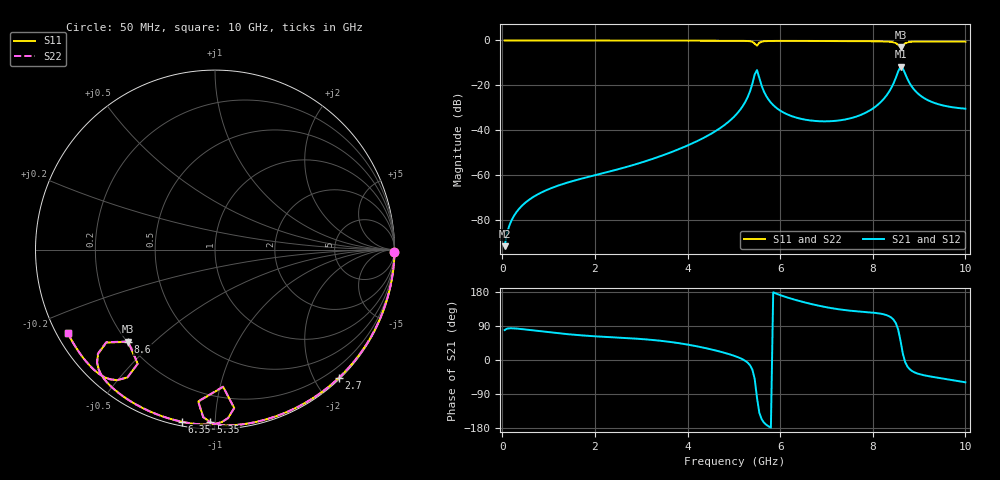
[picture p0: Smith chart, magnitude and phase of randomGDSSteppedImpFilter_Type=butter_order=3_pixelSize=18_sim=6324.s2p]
! freq	dB(S11)	phase(S11)	dB(S12)	phase(S12)
!  dB(S21)	phase(S21)	dB(S22)	phase(S22)
!S-par simulation data
#  GHz  S  DB  R 50
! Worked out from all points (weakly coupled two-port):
!   200 points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, 50 MHz to 10 GHz, reference 50 ohm
!   highest |S21| = -11.71 dB at 8.6 GHz (marker M1); lowest = -91.6 dB at 50 MHz (marker M2)
!   lowest |S11| = -3.0 dB at 8.6 GHz (marker M3), VSWR 5.80, Z = 10.2 - j20.8 ohm
!   |S11| at or under -10 dB: nowhere
!   |S22| runs from -3.0 to 0.0 dB; largest |S21 - S12| = 0
!   S11 on the Smith chart (normalised r, x): 50 MHz: open; 2.7 GHz: 0.02, -2.35; 5.35 GHz: 0.04, -0.97; 6.35 GHz: 0.02, -0.83; 8.6 GHz: 0.20, -0.42; 10 GHz: 0.03, -0.26
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0.05  -0.00 -0.9  -91.56 79.0  -91.56 79.0  -0.00 -0.9
0.2  -0.00 -3.5  -80.05 83.7  -80.05 83.7  -0.00 -3.5
0.8  -0.02 -13.9  -68.12 76.1  -68.12 76.1  -0.02 -14.0
1.75  -0.04 -30.2  -61.29 64.6  -61.29 64.6  -0.04 -30.2
2.7  -0.06 -46.1  -56.20 57.7  -56.20 57.7  -0.06 -46.1
3.4  -0.08 -57.5  -51.61 51.0  -51.61 51.0  -0.08 -57.5
4.45  -0.11 -74.2  -42.23 29.7  -42.23 29.7  -0.11 -74.2
5.05  -0.14 -84.2  -32.98 9.2  -32.98 9.2  -0.14 -84.2
5.35  -0.34 -91.6  -22.59 -13.9  -22.59 -13.9  -0.34 -91.6
5.45  -1.40 -96.3  -15.13 -49.7  -15.13 -49.7  -1.40 -96.4
5.5  -2.32 -86.6  -13.21 -99.9  -13.21 -99.9  -2.33 -86.6
5.65  -0.35 -87.6  -22.75 -165.1  -22.75 -165.1  -0.35 -87.6
5.8  -0.22 -91.5  -27.66 -178.5  -27.66 -178.5  -0.23 -91.6
6.35  -0.20 -100.8  -34.36 157.9  -34.36 157.9  -0.20 -100.9
6.7  -0.22 -106.1  -35.71 146.9  -35.71 146.9  -0.22 -106.2
7.7  -0.30 -120.9  -33.48 128.0  -33.48 128.0  -0.30 -121.0
8.35  -0.55 -132.9  -22.88 115.7  -22.88 115.7  -0.55 -133.0
8.5  -1.18 -138.3  -16.52 96.8  -16.52 96.8  -1.19 -138.4
8.6  -3.03 -133.3  -11.71 50.0  -11.71 50.0  -3.04 -133.4
8.75  -0.83 -126.8  -17.21 -17.6  -17.21 -17.6  -0.84 -126.8
9.1  -0.44 -136.3  -25.56 -40.1  -25.56 -40.1  -0.44 -136.4
10  -0.51 -150.4  -30.37 -58.8  -30.37 -58.8  -0.51 -150.5
